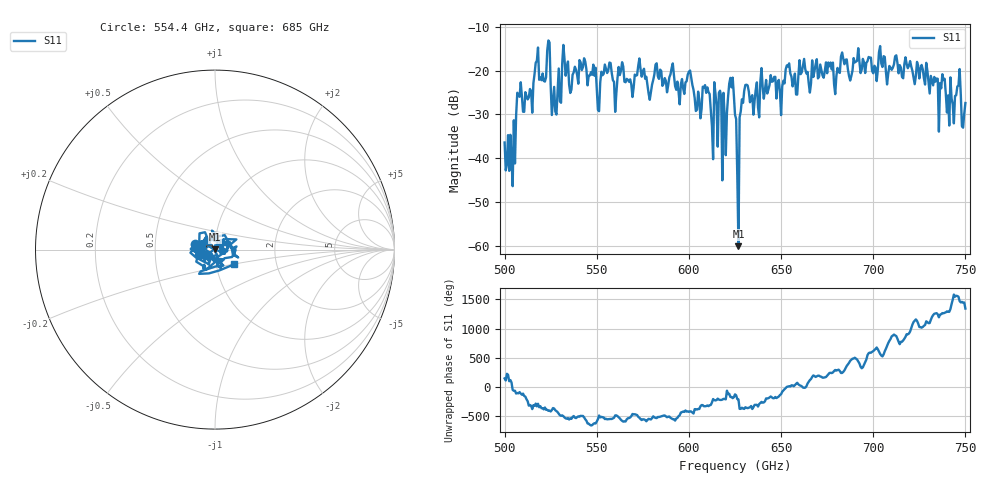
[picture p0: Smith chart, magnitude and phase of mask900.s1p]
!Created with skrf (http://scikit-rf.org).
# GHz S MA R 50.0
!freq magS11 angS11
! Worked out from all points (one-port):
!   401 points, 500 GHz to 750 GHz, reference 50 ohm
!   lowest |S11| = -60.1 dB at 626.9 GHz (marker M1), VSWR 1.00, Z = 49.9 + j0.0612 ohm
!   |S11| at or under -10 dB: start of sweep to end of sweep
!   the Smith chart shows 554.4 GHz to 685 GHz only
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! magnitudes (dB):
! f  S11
! 500 GHz  -36.4
! 504.4 GHz  -46.4
! 507.5 GHz  -25.7
! 513.8 GHz  -24.2
! 516.9 GHz  -18.2
! 523.8 GHz  -13.1
! 526.9 GHz  -23.7
! 531.2 GHz  -18.3
! 542.5 GHz  -19.2
! 551.2 GHz  -29.3
! 562.5 GHz  -21.0
! 593.8 GHz  -22.5
! 600.6 GHz  -20.0
! 605 GHz  -24.8
! 608.8 GHz  -23.3
! 619.4 GHz  -30.3
! 623.1 GHz  -23.8
! 625 GHz  -30.1
! 625.6 GHz  -31.0
! 626.9 GHz  -60.1
! 628.8 GHz  -26.5
! 631.2 GHz  -23.2
! 656.2 GHz  -23.6
! 687.5 GHz  -22.3
! 718.8 GHz  -19.4
! 742.5 GHz  -26.3
! 746.2 GHz  -23.4
! 750 GHz  -27.4
